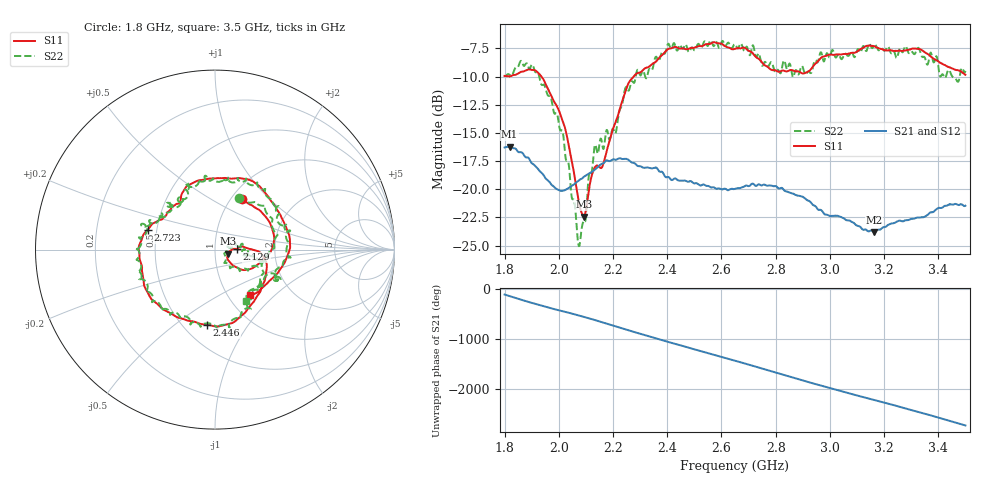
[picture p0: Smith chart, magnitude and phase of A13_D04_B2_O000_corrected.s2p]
! Created with skrf 1.9.0 (http://scikit-rf.org).
# Hz S RI R 50.0
!freq ReS11 ImS11 ReS21 ImS21 ReS12 ImS12 ReS22 ImS22
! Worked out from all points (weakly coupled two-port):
!   1601 points, 1.8 GHz to 3.5 GHz, reference 50 ohm
!   highest |S21| = -16.22 dB at 1.818 GHz (marker M1); lowest = -23.8 dB at 3.163 GHz (marker M2)
!   lowest |S11| = -22.4 dB at 2.092 GHz (marker M3), VSWR 1.16, Z = 57.7 - j2.67 ohm
!   |S11| at or under -10 dB: 1.936 GHz to 2.276 GHz (339.9 MHz wide, 16.1 % of centre)
!   |S22| runs from -25.1 to -6.8 dB; largest |S21 - S12| = 0.0026
!   S11 on the Smith chart (normalised r, x): 1.8 GHz: 1.13, +0.70; 2.129 GHz: 1.28, +0.01; 2.446 GHz: 0.65, -0.66; 2.723 GHz: 0.45, +0.12; 3.5 GHz: 1.26, -0.72
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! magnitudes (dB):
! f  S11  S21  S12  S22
! 1.8 GHz  -9.9  -16.3  -16.3  -9.9
! 1.818 GHz  -10.0  -16.2  -16.2  -9.8
! 1.902 GHz  -9.4  -17.7  -17.7  -8.9
! 1.968 GHz  -11.5  -19.4  -19.5  -11.8
! 2.023 GHz  -14.6  -20.1  -20.1  -16.9
! 2.071 GHz  -20.7  -19.3  -19.3  -24.7
! 2.084 GHz  -22.1  -19.1  -19.0  -23.6
! 2.092 GHz  -22.4  -18.9  -19.0  -22.9
! 2.129 GHz  -18.2  -18.3  -18.3  -16.6
! 2.163 GHz  -17.8  -17.7  -17.6  -16.4
! 2.209 GHz  -14.0  -17.4  -17.3  -15.0
! 2.26 GHz  -10.5  -17.5  -17.5  -11.2
! 2.367 GHz  -8.4  -18.3  -18.3  -8.6
! 2.446 GHz  -7.5  -19.2  -19.2  -7.2
! 2.65 GHz  -7.5  -20.0  -19.9  -7.1
! 2.723 GHz  -8.2  -19.7  -19.6  -7.9
! 2.803 GHz  -9.5  -19.8  -19.8  -9.5
! 2.934 GHz  -9.2  -21.3  -21.3  -9.6
! 3.163 GHz  -7.3  -23.8  -23.7  -7.2
! 3.217 GHz  -7.7  -23.1  -23.1  -7.4
! 3.468 GHz  -9.4  -21.3  -21.3  -10.4
! 3.5 GHz  -9.8  -21.5  -21.5  -9.5
